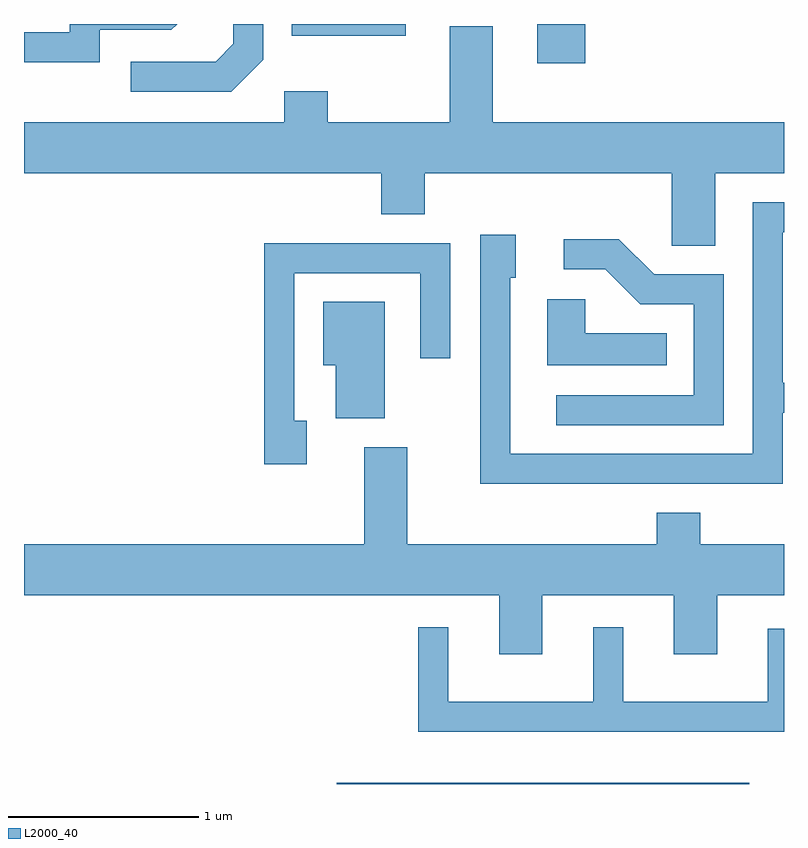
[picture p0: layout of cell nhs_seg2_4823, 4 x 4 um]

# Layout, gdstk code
import gdstk
lib = gdstk.Library(unit=1e-6, precision=1e-09)
def R(c, l, rs):  # rectangles x0, y0, x1, y1
    for r in rs: c.add(gdstk.rectangle(r[:2], r[2:], *l))
def P(c, l, *ps):  # polygons
    for p in ps: c.add(gdstk.Polygon(p, *l))
L2000_40 = (2000, 40)

nhs_seg2_4823 = lib.new_cell('nhs_seg2_4823')
R(nhs_seg2_4823, L2000_40, [(329.256,1011.802,331.428,1011.809), (330.311,1015.596,330.564,1015.802), (329.021,1015.741,329.619,1015.802)])
P(nhs_seg2_4823, L2000_40, [(328.009,1015.771),(328.387,1015.771),(328.418,1015.802),(327.851,1015.802),(327.851,1015.759),(327.611,1015.759),(327.611,1015.601),(328.009,1015.601)],
  [(328.869,1015.614),(328.869,1015.802),(328.711,1015.802),(328.711,1015.697),(328.619,1015.604),(328.173,1015.604),(328.173,1015.446),(328.702,1015.446)],
  [(331.249,1015.016),(331.611,1015.016),(331.611,1015.284),(330.079,1015.284),(330.079,1015.789),(329.851,1015.789),(329.851,1015.284),(329.209,1015.284),(329.209,1015.449),(328.981,1015.449),(328.981,1015.284),(327.611,1015.284),(327.611,1015.016),(329.491,1015.016),(329.491,1014.801),(329.719,1014.801),(329.719,1015.016),(331.021,1015.016),(331.021,1014.636),(331.249,1014.636)],
  [(331.604,1013.756),(331.611,1013.756),(331.611,1013.914),(331.604,1013.914),(331.604,1014.706),(331.611,1014.706),(331.611,1014.864),(331.446,1014.864),(331.446,1013.539),(330.169,1013.539),(330.169,1014.466),(330.199,1014.466),(330.199,1014.694),(330.011,1014.694),(330.011,1013.381),(331.604,1013.381)],
  [(331.294,1014.484),(330.927,1014.484),(330.742,1014.669),(330.453,1014.669),(330.453,1014.511),(330.669,1014.511),(330.854,1014.326),(331.136,1014.326),(331.136,1013.849),(330.413,1013.849),(330.413,1013.691),(331.294,1013.691)],
  [(329.099,1013.714),(329.034,1013.714),(329.034,1014.491),(329.696,1014.491),(329.696,1014.043),(329.854,1014.043),(329.854,1014.649),(328.876,1014.649),(328.876,1013.486),(329.099,1013.486)],
  [(330.993,1014.174),(330.564,1014.174),(330.564,1014.354),(330.366,1014.354),(330.366,1014.006),(330.993,1014.006)],
  [(329.509,1014.339),(329.186,1014.339),(329.186,1014.006),(329.251,1014.006),(329.251,1013.726),(329.509,1013.726)],
  [(329.629,1013.574),(329.401,1013.574),(329.401,1013.064),(327.611,1013.064),(327.611,1012.796),(330.111,1012.796),(330.111,1012.486),(330.339,1012.486),(330.339,1012.796),(331.031,1012.796),(331.031,1012.486),(331.259,1012.486),(331.259,1012.796),(331.611,1012.796),(331.611,1013.064),(331.169,1013.064),(331.169,1013.229),(330.941,1013.229),(330.941,1013.064),(329.629,1013.064)],
  [(331.611,1012.619),(331.526,1012.619),(331.526,1012.234),(330.764,1012.234),(330.764,1012.628),(330.606,1012.628),(330.606,1012.234),(329.844,1012.234),(329.844,1012.628),(329.686,1012.628),(329.686,1012.076),(331.611,1012.076)])

lib.write_gds('nhs_seg2_4823.gds')
